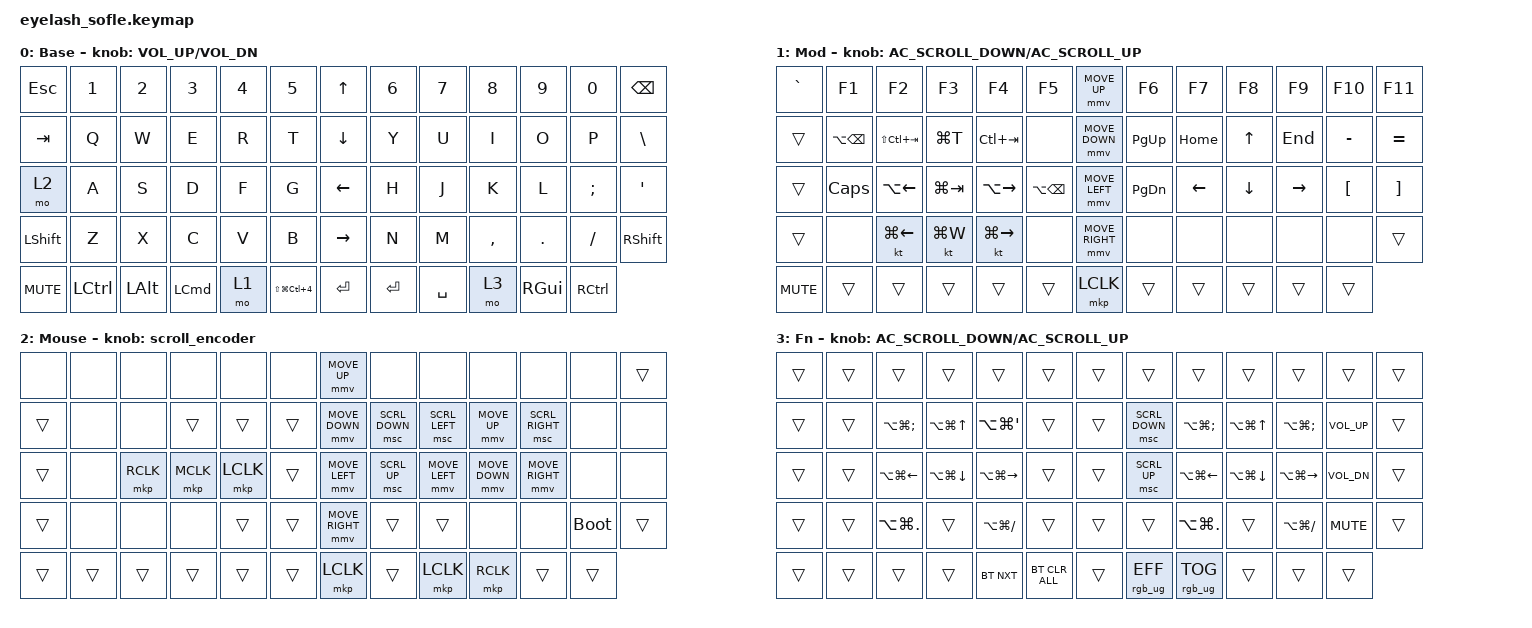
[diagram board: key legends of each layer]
#include <dt-bindings/zmk/mouse.h>
#include <input/processors.dtsi>

#define ZMK_POINTING_DEFAULT_MOVE_VAL 1759  // default: 600
#define ZMK_POINTING_DEFAULT_SCRL_VAL 30    // default: 10

#include <behaviors.dtsi>
#include <dt-bindings/zmk/bt.h>
#include <dt-bindings/zmk/keys.h>
#include <dt-bindings/zmk/keys.h>
#include <dt-bindings/zmk/pointing.h>
#include <dt-bindings/zmk/pointing.h>
#include <dt-bindings/zmk/pointing.h>
#include <dt-bindings/zmk/rgb.h>

/*

   &mmv_input_listener {
       input-processors = <&zip_xy_scaler 2 1>;
   };

   &msc_input_listener {
       input-processors = <&zip_xy_scaler 2 1>;
   };

 */

/ {
    behaviors {
        mmv {
            acceleration-exponent = <1>;      // 1
            time-to-max-speed-ms = <300>;    // 40
            delay-ms = <0>;                   // 0
        };

        msc {
            acceleration-exponent = <1>;      // 0
            time-to-max-speed-ms = <300>;      // 500
            delay-ms = <0>;                   //   10
        };
    };

    scroll_encoder: scroll_encoder {
        compatible = "zmk,behavior-sensor-rotate";
        #sensor-binding-cells = <0>;
        bindings = <&msc SCRL_DOWN>, <&msc SCRL_UP>;

        tap-ms = <30>;
    };

    keymap {
        compatible = "zmk,keymap";

        Base {
            bindings = <
&kp ESC     &kp N1     &kp N2        &kp N3            &kp N4  &kp N5                      &kp UP_ARROW     &kp N6     &kp N7     &kp N8     &kp N9         &kp N0     &kp BACKSPACE
&kp TAB     &kp Q      &kp W         &kp E             &kp R   &kp T                       &kp DOWN_ARROW   &kp Y      &kp U      &kp I      &kp O          &kp P      &kp BSLH
&mo 2       &kp A      &kp S         &kp D             &kp F   &kp G                       &kp LEFT_ARROW   &kp H      &kp J      &kp K      &kp L          &kp SEMI   &kp APOS
&kp LSHFT   &kp Z      &kp X         &kp C             &kp V   &kp B                       &kp RIGHT_ARROW  &kp N      &kp M      &kp COMMA  &kp DOT        &kp FSLH   &kp RIGHT_SHIFT
&kp C_MUTE  &kp LCTRL  &kp LEFT_ALT  &kp LEFT_COMMAND  &mo 1   &kp LS(LG(LC(NUMBER_4)))    &kp ENTER        &kp ENTER  &kp SPACE  &mo 3      &kp RIGHT_GUI  &kp RCTRL
            >;

            sensor-bindings = <&inc_dec_kp C_VOLUME_UP C_VOL_DN>;
            display-name = "Base";
        };

        Mod {
            bindings = <
&kp GRAVE   &kp F1             &kp F2           &kp F3       &kp F4         &kp F5               &mmv MOVE_UP     &kp F6     &kp F7    &kp F8    &kp F9     &kp F10           &kp F11
&trans      &kp LA(BACKSPACE)  &kp LS(LC(TAB))  &kp LG(T)    &kp LC(TAB)    &none                &mmv MOVE_DOWN   &kp PG_UP  &kp HOME  &kp UP    &kp END    &kp MINUS         &kp EQUAL
&trans      &kp CAPS           &kp LA(LEFT)     &kp LG(TAB)  &kp LA(RIGHT)  &kp LA(BACKSPACE)    &mmv MOVE_LEFT   &kp PG_DN  &kp LEFT  &kp DOWN  &kp RIGHT  &kp LEFT_BRACKET  &kp RIGHT_BRACKET
&trans      &none              &kt LG(LEFT)     &kt LG(W)    &kt LG(RIGHT)  &none                &mmv MOVE_RIGHT  &none      &none     &none     &none      &none             &trans
&kp C_MUTE  &trans             &trans           &trans       &trans         &trans               &mkp LCLK        &trans     &trans    &trans    &trans     &trans
            >;

            display-name = "Mod";
            sensor-bindings = <&inc_dec_kp C_AC_SCROLL_DOWN C_AC_SCROLL_UP>;
        };

        Mouse {
            bindings = <
&none   &none   &none      &none      &none      &none     &mmv MOVE_UP     &none           &none           &none           &none            &none        &trans
&trans  &none   &none      &trans     &trans     &trans    &mmv MOVE_DOWN   &msc SCRL_DOWN  &msc SCRL_LEFT  &mmv MOVE_UP    &msc SCRL_RIGHT  &none        &none
&trans  &none   &mkp RCLK  &mkp MCLK  &mkp LCLK  &trans    &mmv MOVE_LEFT   &msc SCRL_UP    &mmv MOVE_LEFT  &mmv MOVE_DOWN  &mmv MOVE_RIGHT  &none        &none
&trans  &none   &none      &none      &trans     &trans    &mmv MOVE_RIGHT  &trans          &trans          &none           &none            &bootloader  &trans
&trans  &trans  &trans     &trans     &trans     &trans    &mkp LCLK        &trans          &mkp LCLK       &mkp RCLK       &trans           &trans
            >;

            sensor-bindings = <&scroll_encoder>;
            label = "Mouse";
        };

        Fn {
            bindings = <
&trans  &trans  &trans                  &trans                &trans                    &trans            &trans  &trans           &trans                  &trans                &trans             &trans           &trans
&trans  &trans  &kp LA(LG(SEMICOLON))   &kp LA(LG(UP_ARROW))  &kp LA(LG(SINGLE_QUOTE))  &trans            &trans  &msc SCRL_DOWN   &kp LA(LG(SEMI))        &kp LA(LG(UP_ARROW))  &kp LA(LG(SEMI))   &kp C_VOLUME_UP  &trans
&trans  &trans  &kp LA(LG(LEFT_ARROW))  &kp LA(LG(DOWN))      &kp LA(LG(RIGHT))         &trans            &trans  &msc SCRL_UP     &kp LA(LG(LEFT_ARROW))  &kp LA(LG(DOWN))      &kp LA(LG(RIGHT))  &kp C_VOL_DN     &trans
&trans  &trans  &kp LA(LG(PERIOD))      &trans                &kp LA(LG(SLASH))         &trans            &trans  &trans           &kp LA(LG(PERIOD))      &trans                &kp LA(LG(SLASH))  &kp K_MUTE       &trans
&trans  &trans  &trans                  &trans                &bt BT_NXT                &bt BT_CLR_ALL    &trans  &rgb_ug RGB_EFF  &rgb_ug RGB_TOG         &trans                &trans             &trans
            >;

            label = "Fn";
            sensor-bindings = <&inc_dec_kp C_AC_SCROLL_DOWN C_AC_SCROLL_UP>;
        };
    };
};
